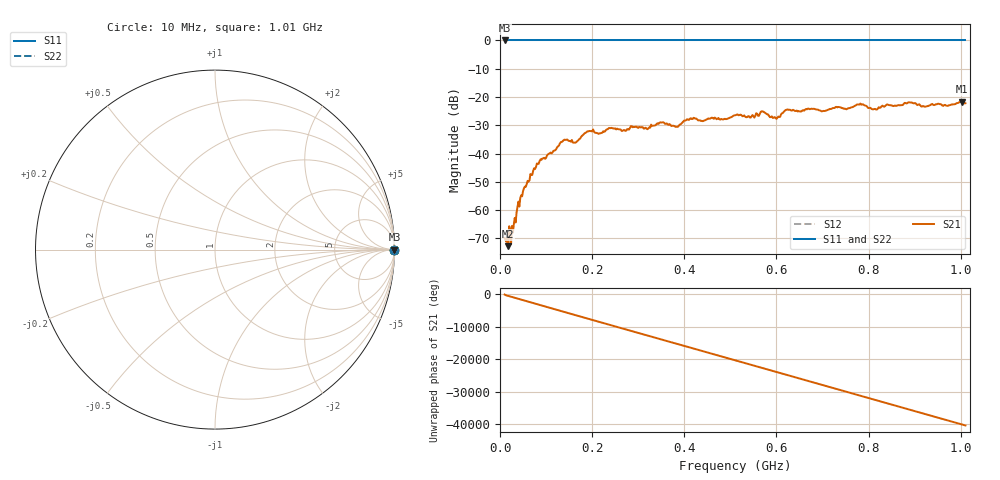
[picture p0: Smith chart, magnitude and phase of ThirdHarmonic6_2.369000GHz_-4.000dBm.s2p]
! 8/17/2025 3:41:31 AM
! C:\ANRITSUVNA\TEMP\TEMP.S2P
! CHANNEL.1
! TR.MEASUREMENT
! RAW.DATA
! RF.CORRECTION.OFF
! AVERAGING.OFF
! IF.BANDWIDTH: 5KHZ
! SWEEPTYPE:  FREQ.SWEEP(Linear)
! Reference Plane Port Info
! PORT:  PORT1  PORT2
! DISTANCE:  0  m  0  m
! TIME:  0  s  0  s
! PHASE.OFFSET:  0  deg.  0  deg.
! LOSS:  0  dB  0  dB
! REF.LOSS:  0  dB  0  dB
! REF.FREQ:  0  Hz  0  Hz
! Power Info
! POWER:  -20  dBm  -20  dBm
! EFF.POWER:  -20  dBm  -20  dBm
! SOURCE.ATTEN:  0  dB  0  dB
! TEST.ATTEN:  0  dB  0  dB
# GHZ S RI R 50.0
! FREQ.GHZ  S11RE  S11IM  S21RE  S21IM  S12RE  S12IM  S22RE  S22IM
!; PortSelection: Port_12
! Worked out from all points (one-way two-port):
!   501 points, 10 MHz to 1.01 GHz, reference 50 ohm
!   highest |S21| = -21.61 dB at 1.002 GHz (marker M1); lowest = -72.7 dB at 18 MHz (marker M2)
!   lowest |S11| = 0.0 dB at 10 MHz (marker M3)
!   |S11| at or under -10 dB: nowhere
!   |S22| runs from 0.0 to 0.0 dB; largest |S21 - S12| = 1.1
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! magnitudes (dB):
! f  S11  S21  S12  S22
! 10 MHz  0.0  -69.8  0.0  0.0
! 18 MHz  0.0  -72.7  0.0  0.0
! 28 MHz  0.0  -67.9  0.0  0.0
! 50 MHz  0.0  -53.3  0.0  0.0
! 84 MHz  0.0  -43.6  0.0  0.0
! 136 MHz  0.0  -35.6  0.0  0.0
! 162 MHz  0.0  -36.1  0.0  0.0
! 178 MHz  0.0  -33.7  0.0  0.0
! 198 MHz  0.0  -32.1  0.0  0.0
! 318 MHz  0.0  -31.2  0.0  0.0
! 344 MHz  0.0  -29.5  0.0  0.0
! 384 MHz  0.0  -30.5  0.0  0.0
! 416 MHz  0.0  -27.8  0.0  0.0
! 510 MHz  0.0  -26.4  0.0  0.0
! 570 MHz  0.0  -25.1  0.0  0.0
! 598 MHz  0.0  -27.4  0.0  0.0
! 622 MHz  0.0  -24.5  0.0  0.0
! 678 MHz  0.0  -24.2  0.0  0.0
! 814 MHz  0.0  -24.2  0.0  0.0
! 844 MHz  0.0  -22.9  0.0  0.0
! 1.002 GHz  0.0  -21.6  0.0  0.0
! 1.01 GHz  0.0  -22.2  0.0  0.0
